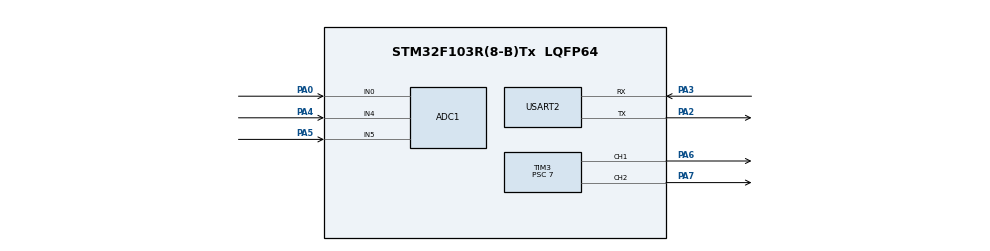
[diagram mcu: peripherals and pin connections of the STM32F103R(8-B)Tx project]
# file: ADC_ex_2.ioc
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ADC1.Channel-0\#ChannelRegularConversion=ADC_CHANNEL_0
ADC1.Channel-1\#ChannelRegularConversion=ADC_CHANNEL_4
ADC1.Channel-2\#ChannelRegularConversion=ADC_CHANNEL_5
ADC1.ContinuousConvMode=ENABLE
ADC1.NbrOfConversion=3
ADC1.NbrOfConversionFlag=1
ADC1.Rank-0\#ChannelRegularConversion=1
ADC1.Rank-1\#ChannelRegularConversion=2
ADC1.Rank-2\#ChannelRegularConversion=3
ADC1.SamplingTime-0\#ChannelRegularConversion=ADC_SAMPLETIME_239CYCLES_5
ADC1.SamplingTime-1\#ChannelRegularConversion=ADC_SAMPLETIME_239CYCLES_5
ADC1.SamplingTime-2\#ChannelRegularConversion=ADC_SAMPLETIME_239CYCLES_5
ADC1.master=1
Dma.ADC1.0.Direction=DMA_PERIPH_TO_MEMORY
Dma.ADC1.0.Instance=DMA1_Channel1
Dma.ADC1.0.MemDataAlignment=DMA_MDATAALIGN_HALFWORD
Dma.ADC1.0.MemInc=DMA_MINC_ENABLE
Dma.ADC1.0.Mode=DMA_CIRCULAR
Dma.ADC1.0.PeriphDataAlignment=DMA_PDATAALIGN_HALFWORD
Dma.ADC1.0.PeriphInc=DMA_PINC_DISABLE
Dma.ADC1.0.Priority=DMA_PRIORITY_LOW
Dma.Request0=ADC1
Mcu.Family=STM32F1
Mcu.Name=STM32F103R(8-B)Tx
Mcu.Package=LQFP64
NVIC.DMA1_Channel1_IRQn=true\:0\:0\:false\:false\:true\:false\:true\:true
NVIC.PriorityGroup=NVIC_PRIORITYGROUP_4
NVIC.TIM3_IRQn=true\:6\:0\:true\:false\:true\:true\:true\:true
PA0-WKUP.Signal=ADCx_IN0
PA13.Mode=Serial_Wire
PA13.Signal=SYS_JTMS-SWDIO
PA14.Mode=Serial_Wire
PA14.Signal=SYS_JTCK-SWCLK
PA2.Mode=Asynchronous
PA2.Signal=USART2_TX
PA3.Mode=Asynchronous
PA3.Signal=USART2_RX
PA4.Signal=ADCx_IN4
PA5.Signal=ADCx_IN5
PA6.Signal=S_TIM3_CH1
PA7.Signal=S_TIM3_CH2
ProjectManager.HeapSize=0x200
ProjectManager.StackSize=0x400
ProjectManager.TargetToolchain=STM32CubeIDE
RCC.APB1Freq_Value=8000000
RCC.APB2Freq_Value=8000000
SH.ADCx_IN0.0=ADC1_IN0,IN0
SH.ADCx_IN4.0=ADC1_IN4,IN4
SH.ADCx_IN5.0=ADC1_IN5,IN5
SH.S_TIM3_CH1.0=TIM3_CH1,PWM Generation1 CH1
SH.S_TIM3_CH2.0=TIM3_CH2,PWM Generation2 CH2
TIM3.Channel-PWM\ Generation1\ CH1=TIM_CHANNEL_1
TIM3.Channel-PWM\ Generation2\ CH2=TIM_CHANNEL_2
TIM3.Period=9999
TIM3.Prescaler=7
TIM3.Pulse-PWM\ Generation1\ CH1=50
TIM3.Pulse-PWM\ Generation2\ CH2=50
USART2.VirtualMode=VM_ASYNC
VP_RTC_VS_RTC_Activate.Mode=RTC_Enabled
VP_TIM3_VS_ClockSourceINT.Mode=Internal
board=custom

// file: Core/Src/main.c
/* USER CODE BEGIN Header */
/**
  ******************************************************************************
  * @file           : main.c
  * @brief          : Main program body
  ******************************************************************************
  * @attention
  *
  * Copyright (c) 2024 STMicroelectronics.
  * All rights reserved.
  *
  * This software is licensed under terms that can be found in the LICENSE file
  * in the root directory of this software component.
  * If no LICENSE file comes with this software, it is provided AS-IS.
  *
  ******************************************************************************
  */
/* USER CODE END Header */
#include "main.h"

/* USER CODE BEGIN Includes */
#include "stdio.h"
#include "stdlib.h"
/* USER CODE END Includes */

ADC_HandleTypeDef hadc1;
DMA_HandleTypeDef hdma_adc1;

RTC_HandleTypeDef hrtc;

TIM_HandleTypeDef htim3;

UART_HandleTypeDef huart2;

void SystemClock_Config(void);
static void MX_GPIO_Init(void);
static void MX_DMA_Init(void);
static void MX_ADC1_Init(void);
static void MX_USART2_UART_Init(void);
static void MX_RTC_Init(void);
static void MX_TIM3_Init(void);

/* USER CODE BEGIN 0 */
int __io_putchar(int ch)
{
	if (ch == '\n')
		__io_putchar('\r');
	HAL_UART_Transmit(&huart2, (uint8_t*)&ch, 1, HAL_MAX_DELAY);
	return 1;
}
/* USER CODE END 0 */

int main(void)
{

  /* MCU Configuration--------------------------------------------------------*/

  /* Reset of all peripherals, Initializes the Flash interface and the Systick. */
  HAL_Init();

  /* Configure the system clock */
  SystemClock_Config();

  /* Initialize all configured peripherals */
  MX_GPIO_Init();
  MX_DMA_Init();
  MX_ADC1_Init();
  MX_USART2_UART_Init();
  MX_RTC_Init();
  MX_TIM3_Init();

  /* Infinite loop */
  /* USER CODE BEGIN WHILE */
  volatile static uint16_t adc_value[3];
  uint16_t old_x = 0;
  uint16_t old_y = 0;

  HAL_ADCEx_Calibration_Start(&hadc1);
  HAL_ADC_Start_DMA(&hadc1, (uint32_t*)adc_value, 3);

  HAL_TIM_Base_Start_IT(&htim3);
  HAL_TIM_PWM_Start(&htim3, TIM_CHANNEL_1);
  HAL_TIM_PWM_Start(&htim3, TIM_CHANNEL_2);

  while (1)
  {
	  uint16_t pulse = adc_value[0] / 400;
	  pulse = 2000 - pulse * 500;
	  if (pulse < 0)
		  pulse = 0;

	  __HAL_TIM_SET_COMPARE(&htim3, TIM_CHANNEL_1, pulse);
	  __HAL_TIM_SET_COMPARE(&htim3, TIM_CHANNEL_2, pulse);

	  if (
			  abs(old_x - adc_value[1]) > 100 ||
			  abs(old_y - adc_value[2]) > 100
	  )
	  {
		  printf("x = %d, y = %d\n", adc_value[1], adc_value[2]);
		  old_x = adc_value[1];
		  old_y = adc_value[2];
	  }
	  //HAL_Delay(200);
    /* USER CODE END WHILE */

  }
}

void SystemClock_Config(void)
{
  RCC_OscInitTypeDef RCC_OscInitStruct = {0};
  RCC_ClkInitTypeDef RCC_ClkInitStruct = {0};
  RCC_PeriphCLKInitTypeDef PeriphClkInit = {0};

  /** Initializes the RCC Oscillators according to the specified parameters
  * in the RCC_OscInitTypeDef structure.
  */
  RCC_OscInitStruct.OscillatorType = RCC_OSCILLATORTYPE_HSI|RCC_OSCILLATORTYPE_LSI;
  RCC_OscInitStruct.HSIState = RCC_HSI_ON;
  RCC_OscInitStruct.HSICalibrationValue = RCC_HSICALIBRATION_DEFAULT;
  RCC_OscInitStruct.LSIState = RCC_LSI_ON;
  RCC_OscInitStruct.PLL.PLLState = RCC_PLL_NONE;
  if (HAL_RCC_OscConfig(&RCC_OscInitStruct) != HAL_OK)
  {
    Error_Handler();
  }

  /** Initializes the CPU, AHB and APB buses clocks
  */
  RCC_ClkInitStruct.ClockType = RCC_CLOCKTYPE_HCLK|RCC_CLOCKTYPE_SYSCLK
                              |RCC_CLOCKTYPE_PCLK1|RCC_CLOCKTYPE_PCLK2;
  RCC_ClkInitStruct.SYSCLKSource = RCC_SYSCLKSOURCE_HSI;
  RCC_ClkInitStruct.AHBCLKDivider = RCC_SYSCLK_DIV1;
  RCC_ClkInitStruct.APB1CLKDivider = RCC_HCLK_DIV1;
  RCC_ClkInitStruct.APB2CLKDivider = RCC_HCLK_DIV1;

  if (HAL_RCC_ClockConfig(&RCC_ClkInitStruct, FLASH_LATENCY_0) != HAL_OK)
  {
    Error_Handler();
  }
  PeriphClkInit.PeriphClockSelection = RCC_PERIPHCLK_RTC|RCC_PERIPHCLK_ADC;
  PeriphClkInit.RTCClockSelection = RCC_RTCCLKSOURCE_LSI;
  PeriphClkInit.AdcClockSelection = RCC_ADCPCLK2_DIV2;
  if (HAL_RCCEx_PeriphCLKConfig(&PeriphClkInit) != HAL_OK)
  {
    Error_Handler();
  }
}

static void MX_ADC1_Init(void)
{

  ADC_ChannelConfTypeDef sConfig = {0};

  /** Common config
  */
  hadc1.Instance = ADC1;
  hadc1.Init.ScanConvMode = ADC_SCAN_ENABLE;
  hadc1.Init.ContinuousConvMode = ENABLE;
  hadc1.Init.DiscontinuousConvMode = DISABLE;
  hadc1.Init.ExternalTrigConv = ADC_SOFTWARE_START;
  hadc1.Init.DataAlign = ADC_DATAALIGN_RIGHT;
  hadc1.Init.NbrOfConversion = 3;
  if (HAL_ADC_Init(&hadc1) != HAL_OK)
  {
    Error_Handler();
  }

  /** Configure Regular Channel
  */
  sConfig.Channel = ADC_CHANNEL_0;
  sConfig.Rank = ADC_REGULAR_RANK_1;
  sConfig.SamplingTime = ADC_SAMPLETIME_239CYCLES_5;
  if (HAL_ADC_ConfigChannel(&hadc1, &sConfig) != HAL_OK)
  {
    Error_Handler();
  }

  /** Configure Regular Channel
  */
  sConfig.Channel = ADC_CHANNEL_4;
  sConfig.Rank = ADC_REGULAR_RANK_2;
  if (HAL_ADC_ConfigChannel(&hadc1, &sConfig) != HAL_OK)
  {
    Error_Handler();
  }

  /** Configure Regular Channel
  */
  sConfig.Channel = ADC_CHANNEL_5;
  sConfig.Rank = ADC_REGULAR_RANK_3;
  if (HAL_ADC_ConfigChannel(&hadc1, &sConfig) != HAL_OK)
  {
    Error_Handler();
  }

}

static void MX_RTC_Init(void)
{

  /** Initialize RTC Only
  */
  hrtc.Instance = RTC;
  hrtc.Init.AsynchPrediv = RTC_AUTO_1_SECOND;
  hrtc.Init.OutPut = RTC_OUTPUTSOURCE_ALARM;
  if (HAL_RTC_Init(&hrtc) != HAL_OK)
  {
    Error_Handler();
  }

}

static void MX_TIM3_Init(void)
{

  TIM_ClockConfigTypeDef sClockSourceConfig = {0};
  TIM_MasterConfigTypeDef sMasterConfig = {0};
  TIM_OC_InitTypeDef sConfigOC = {0};

  htim3.Instance = TIM3;
  htim3.Init.Prescaler = 7;
  htim3.Init.CounterMode = TIM_COUNTERMODE_UP;
  htim3.Init.Period = 9999;
  htim3.Init.ClockDivision = TIM_CLOCKDIVISION_DIV1;
  htim3.Init.AutoReloadPreload = TIM_AUTORELOAD_PRELOAD_DISABLE;
  if (HAL_TIM_Base_Init(&htim3) != HAL_OK)
  {
    Error_Handler();
  }
  sClockSourceConfig.ClockSource = TIM_CLOCKSOURCE_INTERNAL;
  if (HAL_TIM_ConfigClockSource(&htim3, &sClockSourceConfig) != HAL_OK)
  {
    Error_Handler();
  }
  if (HAL_TIM_PWM_Init(&htim3) != HAL_OK)
  {
    Error_Handler();
  }
  sMasterConfig.MasterOutputTrigger = TIM_TRGO_RESET;
  sMasterConfig.MasterSlaveMode = TIM_MASTERSLAVEMODE_DISABLE;
  if (HAL_TIMEx_MasterConfigSynchronization(&htim3, &sMasterConfig) != HAL_OK)
  {
    Error_Handler();
  }
  sConfigOC.OCMode = TIM_OCMODE_PWM1;
  sConfigOC.Pulse = 50;
  sConfigOC.OCPolarity = TIM_OCPOLARITY_HIGH;
  sConfigOC.OCFastMode = TIM_OCFAST_DISABLE;
  if (HAL_TIM_PWM_ConfigChannel(&htim3, &sConfigOC, TIM_CHANNEL_1) != HAL_OK)
  {
    Error_Handler();
  }
  if (HAL_TIM_PWM_ConfigChannel(&htim3, &sConfigOC, TIM_CHANNEL_2) != HAL_OK)
  {
    Error_Handler();
  }
  HAL_TIM_MspPostInit(&htim3);

}

static void MX_USART2_UART_Init(void)
{

  huart2.Instance = USART2;
  huart2.Init.BaudRate = 115200;
  huart2.Init.WordLength = UART_WORDLENGTH_8B;
  huart2.Init.StopBits = UART_STOPBITS_1;
  huart2.Init.Parity = UART_PARITY_NONE;
  huart2.Init.Mode = UART_MODE_TX_RX;
  huart2.Init.HwFlowCtl = UART_HWCONTROL_NONE;
  huart2.Init.OverSampling = UART_OVERSAMPLING_16;
  if (HAL_UART_Init(&huart2) != HAL_OK)
  {
    Error_Handler();
  }

}

static void MX_DMA_Init(void)
{

  /* DMA controller clock enable */
  __HAL_RCC_DMA1_CLK_ENABLE();

  /* DMA interrupt init */
  /* DMA1_Channel1_IRQn interrupt configuration */
  HAL_NVIC_SetPriority(DMA1_Channel1_IRQn, 0, 0);
  HAL_NVIC_EnableIRQ(DMA1_Channel1_IRQn);

}

static void MX_GPIO_Init(void)
{

  /* GPIO Ports Clock Enable */
  __HAL_RCC_GPIOA_CLK_ENABLE();

}

void Error_Handler(void)
{
  __disable_irq();
  while (1)
  {
  }
}
